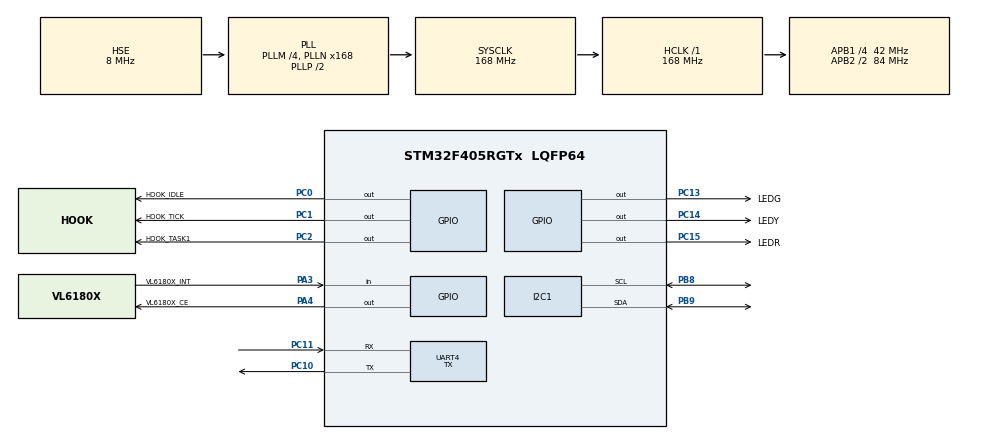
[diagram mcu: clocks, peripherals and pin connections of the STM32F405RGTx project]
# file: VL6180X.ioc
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Dma.Request0=UART4_TX
Dma.UART4_TX.0.Direction=DMA_MEMORY_TO_PERIPH
Dma.UART4_TX.0.FIFOMode=DMA_FIFOMODE_DISABLE
Dma.UART4_TX.0.Instance=DMA1_Stream4
Dma.UART4_TX.0.MemDataAlignment=DMA_MDATAALIGN_BYTE
Dma.UART4_TX.0.MemInc=DMA_MINC_ENABLE
Dma.UART4_TX.0.Mode=DMA_NORMAL
Dma.UART4_TX.0.PeriphDataAlignment=DMA_PDATAALIGN_BYTE
Dma.UART4_TX.0.PeriphInc=DMA_PINC_DISABLE
Dma.UART4_TX.0.Priority=DMA_PRIORITY_LOW
FREERTOS.HEAP_NUMBER=1
FREERTOS.Queues01=proximityQueue,16,float,0,Dynamic,NULL,NULL;ambientQueue,16,float,0,Dynamic,NULL,NULL
FREERTOS.Tasks01=ledTask,8,128,LedTask,Default,NULL,Dynamic,NULL,NULL;tofTask,24,512,TofTask,Default,NULL,Dynamic,NULL,NULL
FREERTOS.configCHECK_FOR_STACK_OVERFLOW=2
FREERTOS.configENABLE_BACKWARD_COMPATIBILITY=0
FREERTOS.configENABLE_FPU=1
FREERTOS.configUSE_APPLICATION_TASK_TAG=1
FREERTOS.configUSE_IDLE_HOOK=1
FREERTOS.configUSE_TICK_HOOK=1
I2C1.I2C_Mode=I2C_Fast
Mcu.Family=STM32F4
Mcu.Name=STM32F405RGTx
Mcu.Package=LQFP64
NVIC.DMA1_Stream4_IRQn=true\:5\:0\:false\:false\:true\:true\:false\:true\:true
NVIC.PriorityGroup=NVIC_PRIORITYGROUP_4
NVIC.TIM8_TRG_COM_TIM14_IRQn=true\:15\:0\:false\:false\:true\:false\:false\:true\:true
NVIC.TimeBase=TIM8_TRG_COM_TIM14_IRQn
NVIC.TimeBaseIP=TIM14
PA13.Mode=Trace_Asynchronous_SW
PA13.Signal=SYS_JTMS-SWDIO
PA14.Mode=Trace_Asynchronous_SW
PA14.Signal=SYS_JTCK-SWCLK
PA3.GPIO_Label=VL6180X_INT
PA3.Signal=GPIO_Input
PA4.GPIO_Label=VL6180X_CE
PA4.GPIO_ModeDefaultOutputPP=GPIO_MODE_OUTPUT_OD
PA4.GPIO_PuPd=GPIO_NOPULL
PA4.PinState=GPIO_PIN_SET
PA4.Signal=GPIO_Output
PB3.Mode=Trace_Asynchronous_SW
PB3.Signal=SYS_JTDO-SWO
PB8.GPIO_Pu=GPIO_PULLUP
PB8.Mode=I2C
PB8.Signal=I2C1_SCL
PB9.GPIO_Pu=GPIO_PULLUP
PB9.Mode=I2C
PB9.Signal=I2C1_SDA
PC0.GPIO_Label=HOOK_IDLE
PC0.GPIO_ModeDefaultOutputPP=GPIO_MODE_OUTPUT_PP
PC0.GPIO_PuPd=GPIO_NOPULL
PC0.GPIO_Speed=GPIO_SPEED_FREQ_VERY_HIGH
PC0.PinState=GPIO_PIN_RESET
PC0.Signal=GPIO_Output
PC1.GPIO_Label=HOOK_TICK
PC1.GPIO_ModeDefaultOutputPP=GPIO_MODE_OUTPUT_PP
PC1.GPIO_PuPd=GPIO_NOPULL
PC1.GPIO_Speed=GPIO_SPEED_FREQ_VERY_HIGH
PC1.PinState=GPIO_PIN_RESET
PC1.Signal=GPIO_Output
PC10.Mode=Asynchronous
PC10.Signal=UART4_TX
PC11.Mode=Asynchronous
PC11.Signal=UART4_RX
PC13-ANTI_TAMP.GPIO_Label=LEDG
PC13-ANTI_TAMP.GPIO_ModeDefaultOutputPP=GPIO_MODE_OUTPUT_OD
PC13-ANTI_TAMP.GPIO_PuPd=GPIO_NOPULL
PC13-ANTI_TAMP.GPIO_Speed=GPIO_SPEED_FREQ_LOW
PC13-ANTI_TAMP.PinState=GPIO_PIN_SET
PC13-ANTI_TAMP.Signal=GPIO_Output
PC14-OSC32_IN.GPIO_Label=LEDY
PC14-OSC32_IN.GPIO_ModeDefaultOutputPP=GPIO_MODE_OUTPUT_OD
PC14-OSC32_IN.GPIO_PuPd=GPIO_NOPULL
PC14-OSC32_IN.GPIO_Speed=GPIO_SPEED_FREQ_LOW
PC14-OSC32_IN.PinState=GPIO_PIN_SET
PC14-OSC32_IN.Signal=GPIO_Output
PC15-OSC32_OUT.GPIO_Label=LEDR
PC15-OSC32_OUT.GPIO_ModeDefaultOutputPP=GPIO_MODE_OUTPUT_OD
PC15-OSC32_OUT.GPIO_PuPd=GPIO_NOPULL
PC15-OSC32_OUT.GPIO_Speed=GPIO_SPEED_FREQ_LOW
PC15-OSC32_OUT.PinState=GPIO_PIN_SET
PC15-OSC32_OUT.Signal=GPIO_Output
PC2.GPIO_Label=HOOK_TASK1
PC2.GPIO_ModeDefaultOutputPP=GPIO_MODE_OUTPUT_PP
PC2.GPIO_PuPd=GPIO_NOPULL
PC2.GPIO_Speed=GPIO_SPEED_FREQ_VERY_HIGH
PC2.PinState=GPIO_PIN_RESET
PC2.Signal=GPIO_Output
PH0-OSC_IN.Mode=HSE-External-Oscillator
PH0-OSC_IN.Signal=RCC_OSC_IN
PH1-OSC_OUT.Mode=HSE-External-Oscillator
PH1-OSC_OUT.Signal=RCC_OSC_OUT
ProjectManager.HeapSize=0x200
ProjectManager.StackSize=0x400
ProjectManager.TargetToolchain=EWARM V8.50
RCC.48MHZClocksFreq_Value=84000000
RCC.AHBFreq_Value=168000000
RCC.APB1CLKDivider=RCC_HCLK_DIV4
RCC.APB1Freq_Value=42000000
RCC.APB1TimFreq_Value=84000000
RCC.APB2CLKDivider=RCC_HCLK_DIV2
RCC.APB2Freq_Value=84000000
RCC.APB2TimFreq_Value=168000000
RCC.CortexFreq_Value=168000000
RCC.EnbaleCSS=true
RCC.HCLKFreq_Value=168000000
RCC.HSE_VALUE=8000000
RCC.HSI_VALUE=16000000
RCC.LSE_VALUE=32768
RCC.PLLM=4
RCC.PLLN=168
RCC.PLLSourceVirtual=RCC_PLLSOURCE_HSE
RCC.SYSCLKFreq_VALUE=168000000
RCC.SYSCLKSource=RCC_SYSCLKSOURCE_PLLCLK
RCC.VCOOutputFreq_Value=336000000
UART4.Mode=MODE_TX
UART4.VirtualMode=Asynchronous
VP_FREERTOS_VS_CMSIS_V2.Mode=CMSIS_V2
VP_SYS_VS_tim14.Mode=TIM14
board=custom

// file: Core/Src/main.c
/* USER CODE BEGIN Header */
/**
 ******************************************************************************
 * @file           : main.c
 * @brief          : Main program body
 ******************************************************************************
 * @attention
 *
 * Copyright (c) 2025 STMicroelectronics.
 * All rights reserved.
 *
 * This software is licensed under terms that can be found in the LICENSE file
 * in the root directory of this software component.
 * If no LICENSE file comes with this software, it is provided AS-IS.
 *
 ******************************************************************************
 */
/* USER CODE END Header */
#include "main.h"
#include "cmsis_os.h"
#include "dma.h"
#include "gpio.h"
#include "i2c.h"
#include "usart.h"

void SystemClock_Config(void);
void MX_FREERTOS_Init(void);

int main(void)
{

    /* MCU Configuration--------------------------------------------------------*/

    /* Reset of all peripherals, Initializes the Flash interface and the Systick. */
    HAL_Init();

    /* Configure the system clock */
    SystemClock_Config();

    /* Initialize all configured peripherals */
    MX_GPIO_Init();
    MX_DMA_Init();
    MX_I2C1_Init();
    MX_UART4_Init();

    /* Init scheduler */
    osKernelInitialize(); /* Call init function for freertos objects (in cmsis_os2.c) */
    MX_FREERTOS_Init();

    /* Start scheduler */
    osKernelStart();

    /* We should never get here as control is now taken by the scheduler */

    /* Infinite loop */
    while (1) {

    }
}

void SystemClock_Config(void)
{
    RCC_OscInitTypeDef RCC_OscInitStruct = {0};
    RCC_ClkInitTypeDef RCC_ClkInitStruct = {0};

    /** Configure the main internal regulator output voltage
     */
    __HAL_RCC_PWR_CLK_ENABLE();
    __HAL_PWR_VOLTAGESCALING_CONFIG(PWR_REGULATOR_VOLTAGE_SCALE1);

    /** Initializes the RCC Oscillators according to the specified parameters
     * in the RCC_OscInitTypeDef structure.
     */
    RCC_OscInitStruct.OscillatorType = RCC_OSCILLATORTYPE_HSE;
    RCC_OscInitStruct.HSEState = RCC_HSE_ON;
    RCC_OscInitStruct.PLL.PLLState = RCC_PLL_ON;
    RCC_OscInitStruct.PLL.PLLSource = RCC_PLLSOURCE_HSE;
    RCC_OscInitStruct.PLL.PLLM = 4;
    RCC_OscInitStruct.PLL.PLLN = 168;
    RCC_OscInitStruct.PLL.PLLP = RCC_PLLP_DIV2;
    RCC_OscInitStruct.PLL.PLLQ = 4;
    if (HAL_RCC_OscConfig(&RCC_OscInitStruct) != HAL_OK)
        Error_Handler();

    /** Initializes the CPU, AHB and APB buses clocks
     */
    RCC_ClkInitStruct.ClockType = RCC_CLOCKTYPE_HCLK | RCC_CLOCKTYPE_SYSCLK | RCC_CLOCKTYPE_PCLK1 | RCC_CLOCKTYPE_PCLK2;
    RCC_ClkInitStruct.SYSCLKSource = RCC_SYSCLKSOURCE_PLLCLK;
    RCC_ClkInitStruct.AHBCLKDivider = RCC_SYSCLK_DIV1;
    RCC_ClkInitStruct.APB1CLKDivider = RCC_HCLK_DIV4;
    RCC_ClkInitStruct.APB2CLKDivider = RCC_HCLK_DIV2;

    if (HAL_RCC_ClockConfig(&RCC_ClkInitStruct, FLASH_LATENCY_5) != HAL_OK)
        Error_Handler();

    /** Enables the Clock Security System
     */
    HAL_RCC_EnableCSS();
}

void HAL_TIM_PeriodElapsedCallback(TIM_HandleTypeDef *htim)
{
    if (htim->Instance == TIM14)
        HAL_IncTick();
}

void Error_Handler(void)
{
    /* USER CODE BEGIN Error_Handler_Debug */
    /* User can add his own implementation to report the HAL error return state */
    __disable_irq();
    while (1) {
        LEDG_OFF, LEDY_OFF, LEDR_ON;
        for (size_t i = 0; i < 1000000; i++) {}
        LEDG_OFF, LEDY_OFF, LEDR_OFF;
        for (size_t i = 0; i < 1000000; i++) {}
    }
    /* USER CODE END Error_Handler_Debug */
}

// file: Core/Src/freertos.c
/* USER CODE BEGIN Header */
/**
 ******************************************************************************
 * File Name          : freertos.c
 * Description        : Code for freertos applications
 ******************************************************************************
 * @attention
 *
 * Copyright (c) 2025 STMicroelectronics.
 * All rights reserved.
 *
 * This software is licensed under terms that can be found in the LICENSE file
 * in the root directory of this software component.
 * If no LICENSE file comes with this software, it is provided AS-IS.
 *
 ******************************************************************************
 */
/* USER CODE END Header */

#include "FreeRTOS.h"
#include "cmsis_os.h"
#include "main.h"
#include "task.h"
/* USER CODE BEGIN Includes */
#include "trace.h"
#include "usart.h"
#include "vl6180x_ifc.h"
#include <stdio.h>
#include <string.h>
/* USER CODE END Includes */

/* USER CODE BEGIN PD */
// #define VL6180X_SINGLE_SHOT
// #define VL6180X_CONTINUOUS
#define VL6180X_INTERLEAVED
// #define VL6180X_ASYNC
// #define VL6180X_USE_INTERRUPT // Can be used with `VL6180X_ASYNC`
/* USER CODE END PD */

/* Definitions for ledTask */
osThreadId_t ledTaskHandle;
const osThreadAttr_t ledTask_attributes = {
    .name = "ledTask",
    .stack_size = 128 * 4,
    .priority = (osPriority_t) osPriorityLow,
};
/* Definitions for tofTask */
osThreadId_t tofTaskHandle;
const osThreadAttr_t tofTask_attributes = {
    .name = "tofTask",
    .stack_size = 512 * 4,
    .priority = (osPriority_t) osPriorityNormal,
};
/* Definitions for proximityQueue */
osMessageQueueId_t proximityQueueHandle;
const osMessageQueueAttr_t proximityQueue_attributes = {.name = "proximityQueue"};
/* Definitions for ambientQueue */
osMessageQueueId_t ambientQueueHandle;
const osMessageQueueAttr_t ambientQueue_attributes = {.name = "ambientQueue"};

void LedTask(void *argument);
void TofTask(void *argument);

void MX_FREERTOS_Init(void); /* (MISRA C 2004 rule 8.1) */

/* Hook prototypes */
void vApplicationIdleHook(void);
void vApplicationTickHook(void);
void vApplicationStackOverflowHook(TaskHandle_t xTask, signed char *pcTaskName);

/* USER CODE BEGIN 2 */
void vApplicationIdleHook(void)
{
    /* vApplicationIdleHook() will only be called if configUSE_IDLE_HOOK is set
    to 1 in FreeRTOSConfig.h. It will be called on each iteration of the idle
    task. It is essential that code added to this hook function never attempts
    to block in any way (for example, call xQueueReceive() with a block time
    specified, or call vTaskDelay()). If the application makes use of the
    vTaskDelete() API function (as this demo application does) then it is also
    important that vApplicationIdleHook() is permitted to return to its calling
    function, because it is the responsibility of the idle task to clean up
    memory allocated by the kernel to any task that has since been deleted. */

#ifndef NDEBUG
    HAL_GPIO_TogglePin(HOOK_IDLE_GPIO_Port, HOOK_IDLE_Pin);
#endif
}

/* USER CODE END 2 */

/* USER CODE BEGIN 3 */
void vApplicationTickHook(void)
{
    /* This function will be called by each tick interrupt if
    configUSE_TICK_HOOK is set to 1 in FreeRTOSConfig.h. User code can be
    added here, but the tick hook is called from an interrupt context, so
    code must not attempt to block, and only the interrupt safe FreeRTOS API
    functions can be used (those that end in FromISR()). */

#ifndef NDEBUG
    HAL_GPIO_TogglePin(HOOK_TICK_GPIO_Port, HOOK_TICK_Pin);
#endif
}

/* USER CODE END 3 */

/* USER CODE BEGIN 4 */
void vApplicationStackOverflowHook(TaskHandle_t xTask, signed char *pcTaskName)
{
    /* Run time stack overflow checking is performed if
    configCHECK_FOR_STACK_OVERFLOW is defined to 1 or 2. This hook function is
    called if a stack overflow is detected. */

#ifndef NDEBUG
    printf("Stack overflow in %s\n", pcTaskName);
    printf("Remaining stack: %i bytes\n", osThreadGetStackSpace(xTask));
    __BKPT(2);
#endif
}

/* USER CODE END 4 */

void MX_FREERTOS_Init(void)
{

    /* Create the queue(s) */
    /* creation of proximityQueue */
    proximityQueueHandle = osMessageQueueNew(16, sizeof(float), &proximityQueue_attributes);

    /* creation of ambientQueue */
    ambientQueueHandle = osMessageQueueNew(16, sizeof(float), &ambientQueue_attributes);

    /* Create the thread(s) */
    /* creation of ledTask */
    ledTaskHandle = osThreadNew(LedTask, NULL, &ledTask_attributes);

    /* creation of tofTask */
    tofTaskHandle = osThreadNew(TofTask, NULL, &tofTask_attributes);

    /* USER CODE BEGIN RTOS_THREADS */
    /* Task switch hooks */
    vTaskSetApplicationTaskTag((TaskHandle_t) ledTaskHandle, (TaskHookFunction_t) TASK_TAG_LED);
    vTaskSetApplicationTaskTag((TaskHandle_t) tofTaskHandle, (TaskHookFunction_t) TASK_TAG_TOF);
    /* USER CODE END RTOS_THREADS */

}

void LedTask(void *argument)
{
    /* USER CODE BEGIN LedTask */
    float proximity;
    /* Infinite loop */
    for (;;) {
        if (osMessageQueueGet(proximityQueueHandle, &proximity, NULL, osWaitForever) == osOK) {
            if (proximity < 11.0f)
                LEDG_ON, LEDY_OFF, LEDR_OFF;
            else if (proximity < 30.0f)
                LEDG_OFF, LEDY_ON, LEDR_OFF;
            else if (proximity < 40.0f)
                LEDG_OFF, LEDY_OFF, LEDR_ON;
            else
                LEDG_OFF, LEDY_OFF, LEDR_OFF;
        }
    }
    /* USER CODE END LedTask */
}

void TofTask(void *argument)
{
    /* USER CODE BEGIN TofTask */
    static uint32_t stackFree;
    static vl6180x_t tof;
    static vl6180x_status_t statusRange, statusAmbient;
    const uint32_t MEASUREMENT_PERIOD = 200; // [ms]
    char plotString[50] = {0};

    static struct {
        float filtered;
        const float alpha;
        uint16_t raw;
    } ambient = {.alpha = 0.15};

    static struct {
        float filtered;
        const float alpha;
        uint16_t raw;
        uint16_t limit;
    } range = {.alpha = 0.2, .limit = 120};

    vl6180_SetUp(&tof);
#ifdef VL6180X_SINGLE_SHOT
    /* Nothing to start */
#elif defined(VL6180X_CONTINUOUS) || defined(VL6180X_ASYNC)
    /* Choose only one: ambient or range */
    vl6180x_StartContinuous(&tof, VL6180X_MODE_RANGE, MEASUREMENT_PERIOD);
#elif defined VL6180X_INTERLEAVED
    vl6180x_StartContinuous(&tof, VL6180X_MODE_INTERLEAVED, MEASUREMENT_PERIOD);
#else
#error "No VL6180X mode defined"
#endif
    /* Infinite loop */
    for (;;) {
#if defined(VL6180X_SINGLE_SHOT) || defined(VL6180X_INTERLEAVED)
        statusAmbient = vl6180x_Read(&tof, &ambient.raw, VL6180X_MODE_ALS, MEASUREMENT_PERIOD);
#endif
#if defined(VL6180X_ASYNC) && defined(VL6180X_USE_INTERRUPT)
        if (VL6180X_GET_INT == GPIO_PIN_RESET)
#endif
#ifndef VL6180X_ASYNC
            statusRange = vl6180x_Read(&tof, &range.raw, VL6180X_MODE_RANGE, MEASUREMENT_PERIOD);
#else
        statusRange = vl6180x_Read(&tof, &range.raw, VL6180X_MODE_RANGE, 0);
#endif

        if (statusAmbient != VL6180X_STAT_OK)
            printf("Incomplete ALS measurement, status: %u\n", statusAmbient);
        if (statusRange != VL6180X_STAT_OK)
            printf("Incomplete range measurement, status: %u\n", statusRange);
        if (statusAmbient == VL6180X_STAT_OK && statusRange == VL6180X_STAT_OK) {
            /* Limiter */
            range.raw = range.raw > range.limit ? range.limit : range.raw;

            /* EMA filter */
            ambient.filtered = ambient.alpha * ambient.raw + (1.0f - ambient.alpha) * ambient.filtered;
            range.filtered = range.alpha * range.raw + (1.0f - range.alpha) * range.filtered;

            /* Logic */
            osMessageQueuePut(proximityQueueHandle, &range.filtered, 0, 10);
            printf("Ambient: %.2f count, range: %.2f mm\n", (double) ambient.filtered, (double) range.filtered);
            snprintf(plotString, sizeof(plotString), "%.2f\r\n", (double) range.filtered);
            HAL_UART_Transmit(&huart4, (const uint8_t *) plotString, strnlen(plotString, sizeof(plotString)), 1000);
        }

        stackFree = osThreadGetStackSpace(osThreadGetId());
        osDelay(MEASUREMENT_PERIOD);
    }
    /* USER CODE END TofTask */
}
